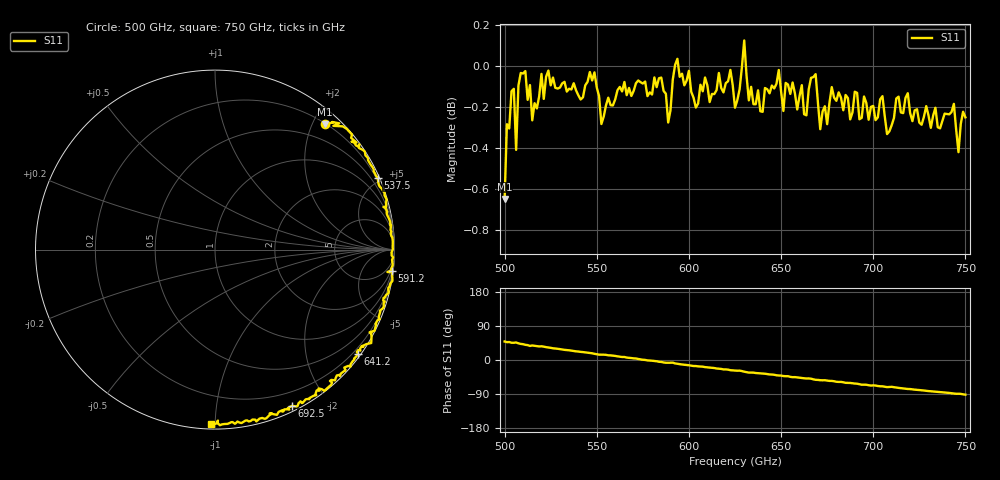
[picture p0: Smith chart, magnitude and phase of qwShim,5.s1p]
!Created with mwavepy.
# GHz S RI R 50.0
!freq	ReS11	ImS11
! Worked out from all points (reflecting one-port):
!   201 points, 500 GHz to 750 GHz, reference 50 ohm
!   lowest |S11| = -0.6 dB at 500 GHz (marker M1), VSWR 26.83, Z = 10.9 + j109 ohm
!   phase of S11 starts at 49 deg and turns -140 deg over the sweep
!   S11 on the Smith chart (normalised r, x): 500 GHz: 0.22, +2.19; 537.5 GHz: 0.12, +4.73; 591.2 GHz: 1, -16; 641.2 GHz: 0.06, -3.06; 692.5 GHz: 0.05, -1.61; 750 GHz: 0.03, -0.98
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500  0.6116 0.6981
! Port Impedance 50.00000000000000 0.00000000000000
503.75  0.6905 0.7036
506.25  0.6593 0.6894
507.5  0.7115 0.6868
513.75  0.7889 0.5968
515  0.7607 0.6016
520  0.8037 0.5873
531.25  0.8765 0.4605
537.5  0.9057 0.4002
551.25  0.9535 0.2397
562.5  0.9763 0.1528
587.5  0.9764 -0.1253
591.25  0.9848 -0.1213
593.75  0.9886 -0.1743
625  0.8615 -0.4603
627.5  0.8708 -0.4643
630  0.8705 -0.5204
632.5  0.8204 -0.5375
641.25  0.7967 -0.5835
656.25  0.6959 -0.705
663.75  0.6405 -0.7319
666.25  0.6478 -0.7529
668.75  0.6091 -0.7871
675  0.5666 -0.7845
687.5  0.4769 -0.8451
692.5  0.4287 -0.8706
718.75  0.2302 -0.9574
750  -0.0237 -0.9712
